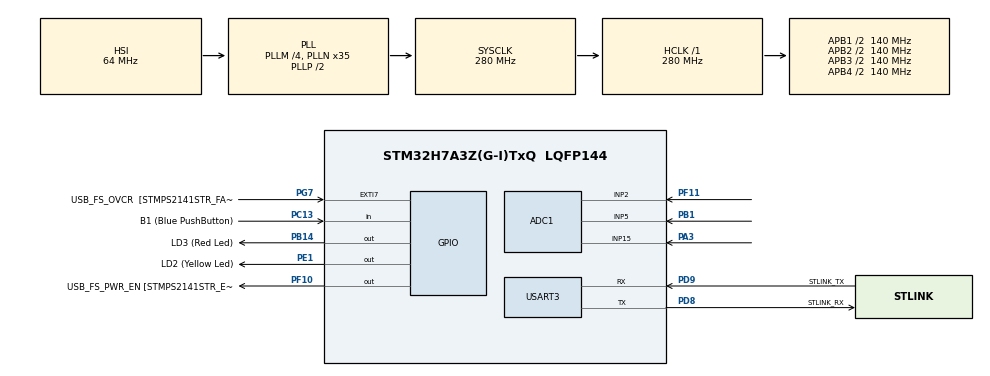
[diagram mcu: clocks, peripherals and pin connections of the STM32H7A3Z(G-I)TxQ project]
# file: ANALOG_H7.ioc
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ADC1.Channel-0\#ChannelRegularConversion=ADC_CHANNEL_15
ADC1.Channel-1\#ChannelRegularConversion=ADC_CHANNEL_2
ADC1.Channel-2\#ChannelRegularConversion=ADC_CHANNEL_5
ADC1.ConversionDataManagement=ADC_CONVERSIONDATA_DMA_CIRCULAR
ADC1.EOCSelection=ADC_EOC_SEQ_CONV
ADC1.ExternalTrigConv=ADC_EXTERNALTRIG_T2_TRGO
ADC1.NbrOfConversion=3
ADC1.NbrOfConversionFlag=1
ADC1.OffsetNumber-0\#ChannelRegularConversion=ADC_OFFSET_NONE
ADC1.OffsetNumber-1\#ChannelRegularConversion=ADC_OFFSET_NONE
ADC1.OffsetNumber-2\#ChannelRegularConversion=ADC_OFFSET_NONE
ADC1.OffsetSignedSaturation-0\#ChannelRegularConversion=DISABLE
ADC1.OffsetSignedSaturation-1\#ChannelRegularConversion=DISABLE
ADC1.OffsetSignedSaturation-2\#ChannelRegularConversion=DISABLE
ADC1.Rank-0\#ChannelRegularConversion=1
ADC1.Rank-1\#ChannelRegularConversion=2
ADC1.Rank-2\#ChannelRegularConversion=3
ADC1.SamplingTime-0\#ChannelRegularConversion=ADC_SAMPLETIME_64CYCLES_5
ADC1.SamplingTime-1\#ChannelRegularConversion=ADC_SAMPLETIME_64CYCLES_5
ADC1.SamplingTime-2\#ChannelRegularConversion=ADC_SAMPLETIME_64CYCLES_5
ADC1.master=1
Dma.ADC1.0.Direction=DMA_PERIPH_TO_MEMORY
Dma.ADC1.0.EventEnable=DISABLE
Dma.ADC1.0.FIFOMode=DMA_FIFOMODE_DISABLE
Dma.ADC1.0.Instance=DMA1_Stream0
Dma.ADC1.0.MemDataAlignment=DMA_MDATAALIGN_WORD
Dma.ADC1.0.MemInc=DMA_MINC_ENABLE
Dma.ADC1.0.Mode=DMA_CIRCULAR
Dma.ADC1.0.PeriphDataAlignment=DMA_PDATAALIGN_WORD
Dma.ADC1.0.PeriphInc=DMA_PINC_DISABLE
Dma.ADC1.0.Polarity=HAL_DMAMUX_REQ_GEN_RISING
Dma.ADC1.0.Priority=DMA_PRIORITY_LOW
Dma.ADC1.0.RequestNumber=1
Dma.ADC1.0.SignalID=NONE
Dma.ADC1.0.SyncEnable=DISABLE
Dma.ADC1.0.SyncPolarity=HAL_DMAMUX_SYNC_NO_EVENT
Dma.ADC1.0.SyncRequestNumber=1
Dma.ADC1.0.SyncSignalID=NONE
Dma.Request0=ADC1
Mcu.Family=STM32H7
Mcu.Name=STM32H7A3Z(G-I)TxQ
Mcu.Package=LQFP144
NVIC.DMA1_Stream0_IRQn=true\:0\:0\:false\:false\:true\:false\:true\:true
NVIC.PriorityGroup=NVIC_PRIORITYGROUP_4
PA10.GPIO_Label=USB_FS_ID [ZX62RD-AB-5P8_ID]
PA10.Signal=USB_OTG_HS_ID
PA11.GPIO_Label=USB_FS_N [USBLC6-2SC6_IO_1]
PA11.Signal=USB_OTG_HS_DM
PA12.GPIO_Label=USB_FS_P [USBLC6-2SC6_IO_2]
PA12.Signal=USB_OTG_HS_DP
PA3.Mode=IN15-Single-Ended
PA3.Signal=ADC1_INP15
PA9.GPIO_Label=USB_FS_VBUS  [ZX62RD-AB-5P8_VBUS]
PA9.Signal=USB_OTG_HS_VBUS
PB1.Signal=ADCx_INP5
PB14.GPIO_Label=LD3 (Red Led)
PB14.Signal=GPIO_Output
PC13.GPIO_Label=B1 (Blue PushButton)
PC13.Signal=GPIO_Input
PC14-OSC32_IN.GPIO_Label=OSC32_IN
PC14-OSC32_IN.Signal=RCC_OSC32_IN
PC15-OSC32_OUT.GPIO_Label=OSC32_OUT
PC15-OSC32_OUT.Signal=RCC_OSC32_OUT
PD8.GPIO_Label=STLINK_RX
PD8.Mode=Asynchronous
PD8.Signal=USART3_TX
PD9.GPIO_Label=STLINK_TX
PD9.Mode=Asynchronous
PD9.Signal=USART3_RX
PE1.GPIO_Label=LD2 (Yellow Led)
PE1.Signal=GPIO_Output
PF10.GPIO_Label=USB_FS_PWR_EN [STMPS2141STR_EN]
PF10.Signal=GPIO_Output
PF11.Mode=IN2-Single-Ended
PF11.Signal=ADC1_INP2
PG7.GPIO_Label=USB_FS_OVCR  [STMPS2141STR_FAULT]
PG7.Signal=GPXTI7
PH0-OSC_IN.GPIO_Label=PH0-MCU
PH0-OSC_IN.Mode=HSE-External-Oscillator
PH0-OSC_IN.Signal=RCC_OSC_IN
PH1-OSC_OUT.GPIO_Label=PH1-MCU
PH1-OSC_OUT.Mode=HSE-External-Oscillator
PH1-OSC_OUT.Signal=RCC_OSC_OUT
ProjectManager.HeapSize=0x200
ProjectManager.StackSize=0x400
ProjectManager.TargetToolchain=STM32CubeIDE
RCC.ADCFreq_Value=42666666.666666664
RCC.APB1Freq_Value=140000000
RCC.APB2Freq_Value=140000000
RCC.APB3Freq_Value=140000000
RCC.APB4Freq_Value=140000000
RCC.CDPPRE=RCC_APB3_DIV2
RCC.CDPPRE1=RCC_APB1_DIV2
RCC.CDPPRE2=RCC_APB2_DIV2
RCC.CortexFreq_Value=280000000
RCC.DIVM1=4
RCC.DIVM2=4
RCC.DIVM3=1
RCC.DIVN1=35
RCC.DIVN2=8
RCC.DIVN3=24
RCC.DIVP2=3
RCC.DIVQ1=4
RCC.HCLKFreq_Value=280000000
RCC.HSE_VALUE=8000000
RCC.PLL2FRACN=0
RCC.PLLFRACN=0
RCC.PWR_Regulator_Voltage_Scale=PWR_REGULATOR_VOLTAGE_SCALE0
RCC.SRDPPRE=RCC_APB4_DIV2
RCC.SYSCLKFreq_VALUE=280000000
RCC.SYSCLKSource=RCC_SYSCLKSOURCE_PLLCLK
RCC.SupplySource=PWR_DIRECT_SMPS_SUPPLY
RCC.USBCLockSelection=RCC_USBCLKSOURCE_HSI48
RCC.USBFreq_Value=48000000
SH.ADCx_INP5.0=ADC1_INP5,IN5-Single-Ended
TIM2.Period=1000-1
TIM2.Prescaler=240-1
TIM2.TIM_MasterOutputTrigger=TIM_TRGO_UPDATE
USART3.VirtualMode-Asynchronous=VM_ASYNC
VP_TIM2_VS_ClockSourceINT.Mode=Internal
board=NUCLEO-H7A3ZI-Q

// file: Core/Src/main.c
/* USER CODE BEGIN Header */
/**
  ******************************************************************************
  * @file           : main.c
  * @brief          : Main program body
  ******************************************************************************
  * @attention
  *
  * Copyright (c) 2024 STMicroelectronics.
  * All rights reserved.
  *
  * This software is licensed under terms that can be found in the LICENSE file
  * in the root directory of this software component.
  * If no LICENSE file comes with this software, it is provided AS-IS.
  *
  ******************************************************************************
  */
/* USER CODE END Header */
#include "main.h"

/* USER CODE BEGIN Includes */
#include <string.h>
#include <stdio.h>
#include <stdarg.h>
/* USER CODE END Includes */

/* USER CODE BEGIN PD */
#define ADC_VAL_SIZE 3
uint32_t adcVal[ADC_VAL_SIZE];
uint32_t adcFlush[ADC_VAL_SIZE];
/* USER CODE END PD */

ADC_HandleTypeDef hadc1;
DMA_HandleTypeDef hdma_adc1;

TIM_HandleTypeDef htim2;

UART_HandleTypeDef huart3;

/* USER CODE BEGIN PV */
uint32_t adc_data=0;
char msg[20];
/* USER CODE END PV */

void SystemClock_Config(void);
static void MX_GPIO_Init(void);
static void MX_DMA_Init(void);
static void MX_ADC1_Init(void);
static void MX_USART3_UART_Init(void);
static void MX_TIM2_Init(void);

/* USER CODE BEGIN 0 */
void send_uart(const char *format, ...) {
    va_list args;
    va_start(args, format);
    char buffer[1024];
    int len = vsnprintf(buffer, sizeof(buffer), format, args);
    if (len >= 0) {
       HAL_UART_Transmit(&huart3, (uint8_t*)buffer, len, 200);
    }
    va_end(args);
}
void HAL_ADC_ConvCpltCallback(ADC_HandleTypeDef* hadc)
 {

	memcpy(adcFlush,adcVal,ADC_VAL_SIZE*sizeof(uint32_t));
 }
/* USER CODE END 0 */

int main(void)
{

  /* MCU Configuration--------------------------------------------------------*/

  /* Reset of all peripherals, Initializes the Flash interface and the Systick. */
  HAL_Init();

  /* Configure the system clock */
  SystemClock_Config();

  /* Initialize all configured peripherals */
  MX_GPIO_Init();
  MX_DMA_Init();
  MX_ADC1_Init();
  MX_USART3_UART_Init();
  MX_TIM2_Init();
  /* USER CODE BEGIN 2 */
  HAL_ADCEx_Calibration_Start(&hadc1, ADC_CALIB_OFFSET , ADC_SINGLE_ENDED);

  HAL_ADC_Start_DMA(&hadc1, adcVal, ADC_VAL_SIZE);

  HAL_TIM_Base_Start(&htim2);
  /* USER CODE END 2 */

  /* Infinite loop */
  while (1)
  {

    /* USER CODE BEGIN 3 */
  }
  HAL_Delay(100);
  /* USER CODE END 3 */
}

void SystemClock_Config(void)
{
  RCC_OscInitTypeDef RCC_OscInitStruct = {0};
  RCC_ClkInitTypeDef RCC_ClkInitStruct = {0};

  /*AXI clock gating */
  RCC->CKGAENR = 0xFFFFFFFF;

  /** Supply configuration update enable
  */
  HAL_PWREx_ConfigSupply(PWR_DIRECT_SMPS_SUPPLY);

  /** Configure the main internal regulator output voltage
  */
  __HAL_PWR_VOLTAGESCALING_CONFIG(PWR_REGULATOR_VOLTAGE_SCALE0);

  while(!__HAL_PWR_GET_FLAG(PWR_FLAG_VOSRDY)) {}

  /** Initializes the RCC Oscillators according to the specified parameters
  * in the RCC_OscInitTypeDef structure.
  */
  RCC_OscInitStruct.OscillatorType = RCC_OSCILLATORTYPE_HSI;
  RCC_OscInitStruct.HSIState = RCC_HSI_DIV1;
  RCC_OscInitStruct.HSICalibrationValue = 64;
  RCC_OscInitStruct.PLL.PLLState = RCC_PLL_ON;
  RCC_OscInitStruct.PLL.PLLSource = RCC_PLLSOURCE_HSI;
  RCC_OscInitStruct.PLL.PLLM = 4;
  RCC_OscInitStruct.PLL.PLLN = 35;
  RCC_OscInitStruct.PLL.PLLP = 2;
  RCC_OscInitStruct.PLL.PLLQ = 4;
  RCC_OscInitStruct.PLL.PLLR = 2;
  RCC_OscInitStruct.PLL.PLLRGE = RCC_PLL1VCIRANGE_3;
  RCC_OscInitStruct.PLL.PLLVCOSEL = RCC_PLL1VCOWIDE;
  RCC_OscInitStruct.PLL.PLLFRACN = 0;
  if (HAL_RCC_OscConfig(&RCC_OscInitStruct) != HAL_OK)
  {
    Error_Handler();
  }

  /** Initializes the CPU, AHB and APB buses clocks
  */
  RCC_ClkInitStruct.ClockType = RCC_CLOCKTYPE_HCLK|RCC_CLOCKTYPE_SYSCLK
                              |RCC_CLOCKTYPE_PCLK1|RCC_CLOCKTYPE_PCLK2
                              |RCC_CLOCKTYPE_D3PCLK1|RCC_CLOCKTYPE_D1PCLK1;
  RCC_ClkInitStruct.SYSCLKSource = RCC_SYSCLKSOURCE_PLLCLK;
  RCC_ClkInitStruct.SYSCLKDivider = RCC_SYSCLK_DIV1;
  RCC_ClkInitStruct.AHBCLKDivider = RCC_HCLK_DIV1;
  RCC_ClkInitStruct.APB3CLKDivider = RCC_APB3_DIV2;
  RCC_ClkInitStruct.APB1CLKDivider = RCC_APB1_DIV2;
  RCC_ClkInitStruct.APB2CLKDivider = RCC_APB2_DIV2;
  RCC_ClkInitStruct.APB4CLKDivider = RCC_APB4_DIV2;

  if (HAL_RCC_ClockConfig(&RCC_ClkInitStruct, FLASH_LATENCY_6) != HAL_OK)
  {
    Error_Handler();
  }
}

static void MX_ADC1_Init(void)
{

  ADC_MultiModeTypeDef multimode = {0};
  ADC_ChannelConfTypeDef sConfig = {0};

  /** Common config
  */
  hadc1.Instance = ADC1;
  hadc1.Init.ClockPrescaler = ADC_CLOCK_ASYNC_DIV1;
  hadc1.Init.Resolution = ADC_RESOLUTION_16B;
  hadc1.Init.ScanConvMode = ADC_SCAN_ENABLE;
  hadc1.Init.EOCSelection = ADC_EOC_SEQ_CONV;
  hadc1.Init.LowPowerAutoWait = DISABLE;
  hadc1.Init.ContinuousConvMode = DISABLE;
  hadc1.Init.NbrOfConversion = 3;
  hadc1.Init.DiscontinuousConvMode = DISABLE;
  hadc1.Init.ExternalTrigConv = ADC_EXTERNALTRIG_T2_TRGO;
  hadc1.Init.ExternalTrigConvEdge = ADC_EXTERNALTRIGCONVEDGE_RISING;
  hadc1.Init.ConversionDataManagement = ADC_CONVERSIONDATA_DMA_CIRCULAR;
  hadc1.Init.Overrun = ADC_OVR_DATA_PRESERVED;
  hadc1.Init.LeftBitShift = ADC_LEFTBITSHIFT_NONE;
  hadc1.Init.OversamplingMode = DISABLE;
  if (HAL_ADC_Init(&hadc1) != HAL_OK)
  {
    Error_Handler();
  }

  /** Configure the ADC multi-mode
  */
  multimode.Mode = ADC_MODE_INDEPENDENT;
  if (HAL_ADCEx_MultiModeConfigChannel(&hadc1, &multimode) != HAL_OK)
  {
    Error_Handler();
  }

  /** Configure Regular Channel
  */
  sConfig.Channel = ADC_CHANNEL_15;
  sConfig.Rank = ADC_REGULAR_RANK_1;
  sConfig.SamplingTime = ADC_SAMPLETIME_64CYCLES_5;
  sConfig.SingleDiff = ADC_SINGLE_ENDED;
  sConfig.OffsetNumber = ADC_OFFSET_NONE;
  sConfig.Offset = 0;
  sConfig.OffsetSignedSaturation = DISABLE;
  if (HAL_ADC_ConfigChannel(&hadc1, &sConfig) != HAL_OK)
  {
    Error_Handler();
  }

  /** Configure Regular Channel
  */
  sConfig.Channel = ADC_CHANNEL_2;
  sConfig.Rank = ADC_REGULAR_RANK_2;
  if (HAL_ADC_ConfigChannel(&hadc1, &sConfig) != HAL_OK)
  {
    Error_Handler();
  }

  /** Configure Regular Channel
  */
  sConfig.Channel = ADC_CHANNEL_5;
  sConfig.Rank = ADC_REGULAR_RANK_3;
  if (HAL_ADC_ConfigChannel(&hadc1, &sConfig) != HAL_OK)
  {
    Error_Handler();
  }

}

static void MX_TIM2_Init(void)
{

  TIM_ClockConfigTypeDef sClockSourceConfig = {0};
  TIM_MasterConfigTypeDef sMasterConfig = {0};

  htim2.Instance = TIM2;
  htim2.Init.Prescaler = 240-1;
  htim2.Init.CounterMode = TIM_COUNTERMODE_UP;
  htim2.Init.Period = 1000-1;
  htim2.Init.ClockDivision = TIM_CLOCKDIVISION_DIV1;
  htim2.Init.AutoReloadPreload = TIM_AUTORELOAD_PRELOAD_DISABLE;
  if (HAL_TIM_Base_Init(&htim2) != HAL_OK)
  {
    Error_Handler();
  }
  sClockSourceConfig.ClockSource = TIM_CLOCKSOURCE_INTERNAL;
  if (HAL_TIM_ConfigClockSource(&htim2, &sClockSourceConfig) != HAL_OK)
  {
    Error_Handler();
  }
  sMasterConfig.MasterOutputTrigger = TIM_TRGO_UPDATE;
  sMasterConfig.MasterSlaveMode = TIM_MASTERSLAVEMODE_DISABLE;
  if (HAL_TIMEx_MasterConfigSynchronization(&htim2, &sMasterConfig) != HAL_OK)
  {
    Error_Handler();
  }

}

static void MX_USART3_UART_Init(void)
{

  huart3.Instance = USART3;
  huart3.Init.BaudRate = 115200;
  huart3.Init.WordLength = UART_WORDLENGTH_8B;
  huart3.Init.StopBits = UART_STOPBITS_1;
  huart3.Init.Parity = UART_PARITY_NONE;
  huart3.Init.Mode = UART_MODE_TX_RX;
  huart3.Init.HwFlowCtl = UART_HWCONTROL_NONE;
  huart3.Init.OverSampling = UART_OVERSAMPLING_16;
  huart3.Init.OneBitSampling = UART_ONE_BIT_SAMPLE_DISABLE;
  huart3.Init.ClockPrescaler = UART_PRESCALER_DIV1;
  huart3.AdvancedInit.AdvFeatureInit = UART_ADVFEATURE_NO_INIT;
  if (HAL_UART_Init(&huart3) != HAL_OK)
  {
    Error_Handler();
  }
  if (HAL_UARTEx_SetTxFifoThreshold(&huart3, UART_TXFIFO_THRESHOLD_1_8) != HAL_OK)
  {
    Error_Handler();
  }
  if (HAL_UARTEx_SetRxFifoThreshold(&huart3, UART_RXFIFO_THRESHOLD_1_8) != HAL_OK)
  {
    Error_Handler();
  }
  if (HAL_UARTEx_DisableFifoMode(&huart3) != HAL_OK)
  {
    Error_Handler();
  }

}

static void MX_DMA_Init(void)
{

  /* DMA controller clock enable */
  __HAL_RCC_DMA1_CLK_ENABLE();

  /* DMA interrupt init */
  /* DMA1_Stream0_IRQn interrupt configuration */
  HAL_NVIC_SetPriority(DMA1_Stream0_IRQn, 0, 0);
  HAL_NVIC_EnableIRQ(DMA1_Stream0_IRQn);

}

static void MX_GPIO_Init(void)
{
  GPIO_InitTypeDef GPIO_InitStruct = {0};

  /* GPIO Ports Clock Enable */
  __HAL_RCC_GPIOC_CLK_ENABLE();
  __HAL_RCC_GPIOF_CLK_ENABLE();
  __HAL_RCC_GPIOH_CLK_ENABLE();
  __HAL_RCC_GPIOA_CLK_ENABLE();
  __HAL_RCC_GPIOB_CLK_ENABLE();
  __HAL_RCC_GPIOD_CLK_ENABLE();
  __HAL_RCC_GPIOG_CLK_ENABLE();
  __HAL_RCC_GPIOE_CLK_ENABLE();

  /*Configure GPIO pin Output Level */
  HAL_GPIO_WritePin(USB_FS_PWR_EN_GPIO_Port, USB_FS_PWR_EN_Pin, GPIO_PIN_RESET);

  /*Configure GPIO pin Output Level */
  HAL_GPIO_WritePin(LD3_GPIO_Port, LD3_Pin, GPIO_PIN_RESET);

  /*Configure GPIO pin Output Level */
  HAL_GPIO_WritePin(LD2_GPIO_Port, LD2_Pin, GPIO_PIN_RESET);

  /*Configure GPIO pin : B1_Pin */
  GPIO_InitStruct.Pin = B1_Pin;
  GPIO_InitStruct.Mode = GPIO_MODE_INPUT;
  GPIO_InitStruct.Pull = GPIO_NOPULL;
  HAL_GPIO_Init(B1_GPIO_Port, &GPIO_InitStruct);

  /*Configure GPIO pin : USB_FS_PWR_EN_Pin */
  GPIO_InitStruct.Pin = USB_FS_PWR_EN_Pin;
  GPIO_InitStruct.Mode = GPIO_MODE_OUTPUT_PP;
  GPIO_InitStruct.Pull = GPIO_NOPULL;
  GPIO_InitStruct.Speed = GPIO_SPEED_FREQ_LOW;
  HAL_GPIO_Init(USB_FS_PWR_EN_GPIO_Port, &GPIO_InitStruct);

  /*Configure GPIO pin : LD3_Pin */
  GPIO_InitStruct.Pin = LD3_Pin;
  GPIO_InitStruct.Mode = GPIO_MODE_OUTPUT_PP;
  GPIO_InitStruct.Pull = GPIO_NOPULL;
  GPIO_InitStruct.Speed = GPIO_SPEED_FREQ_LOW;
  HAL_GPIO_Init(LD3_GPIO_Port, &GPIO_InitStruct);

  /*Configure GPIO pin : USB_FS_OVCR_Pin */
  GPIO_InitStruct.Pin = USB_FS_OVCR_Pin;
  GPIO_InitStruct.Mode = GPIO_MODE_IT_RISING;
  GPIO_InitStruct.Pull = GPIO_NOPULL;
  HAL_GPIO_Init(USB_FS_OVCR_GPIO_Port, &GPIO_InitStruct);

  /*Configure GPIO pin : USB_FS_ID_Pin */
  GPIO_InitStruct.Pin = USB_FS_ID_Pin;
  GPIO_InitStruct.Mode = GPIO_MODE_AF_PP;
  GPIO_InitStruct.Pull = GPIO_NOPULL;
  GPIO_InitStruct.Speed = GPIO_SPEED_FREQ_LOW;
  GPIO_InitStruct.Alternate = GPIO_AF10_OTG1_HS;
  HAL_GPIO_Init(USB_FS_ID_GPIO_Port, &GPIO_InitStruct);

  /*Configure GPIO pins : USB_FS_N_Pin USB_FS_P_Pin */
  GPIO_InitStruct.Pin = USB_FS_N_Pin|USB_FS_P_Pin;
  GPIO_InitStruct.Mode = GPIO_MODE_AF_PP;
  GPIO_InitStruct.Pull = GPIO_NOPULL;
  GPIO_InitStruct.Speed = GPIO_SPEED_FREQ_LOW;
  HAL_GPIO_Init(GPIOA, &GPIO_InitStruct);

  /*Configure GPIO pin : LD2_Pin */
  GPIO_InitStruct.Pin = LD2_Pin;
  GPIO_InitStruct.Mode = GPIO_MODE_OUTPUT_PP;
  GPIO_InitStruct.Pull = GPIO_NOPULL;
  GPIO_InitStruct.Speed = GPIO_SPEED_FREQ_LOW;
  HAL_GPIO_Init(LD2_GPIO_Port, &GPIO_InitStruct);

}

void Error_Handler(void)
{
  __disable_irq();
  while (1)
  {
  }
}
